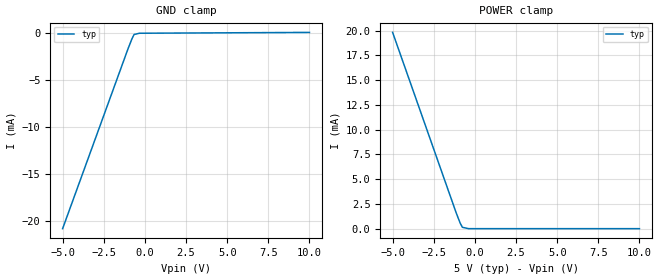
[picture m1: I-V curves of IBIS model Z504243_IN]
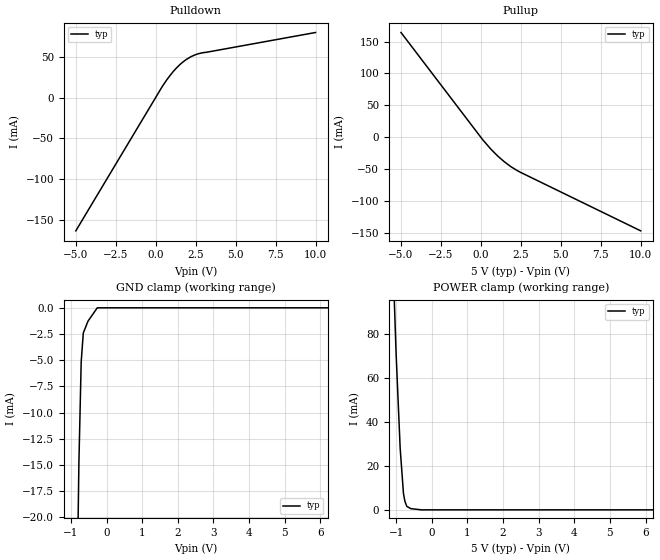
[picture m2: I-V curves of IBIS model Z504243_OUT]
| YOU ARE ONLY AUTHORIZED TO USE THIS SOFTWARE
| ACCORDING TO LICENSOR'S LICENSE RESTRICTIONS.
[IBIS Ver] 3.1
[File Name] mc74hc4078n.ibs
[File Rev] 2.0
[Source] Measured and created by ICX Technology
[Date] Friday 7/14/00 9:08:10 AM
[Copyright]
| (C) COPYRIGHT 1993-2000
| MENTOR GRAPHICS CORPORATION
| ICX STANDARD LIBRARY, ICX PROJECT MODELING,
| ICX CUSTOM MODELING, ICX VENDOR MODEL
| ALL RIGHTS RESERVED.
| THE FOLLOWING ARE TRADEMARKS OR SERVICE MARKS OF
| MENTOR GRAPHICS CORPORATION:ICX (R), ICX STANDARD
| LIBRARY(R), ICX PROJECT MODELING(R), ICX CUSTOM
| MODELING(R), qualityIBIS(TM), MODELVIEWER(TM),
| AND MODELEDITOR(TM)
| ALL COPIES OF SOFTWARE, INCLUDING BUT NOT LIMITED TO
| ANY MODIFICATIONS, ENHANCEMENTS OR DERIVATIVE WORKS,
| MUST CONTAIN ALL MENTOR GRAPHICS CORPORATION'S
| NOTICES AND LEGENDS, INCLUDING THOSE EMBEDDED IN
| SOFTWARE AND THOSE AFFIXED TO SOFTWARE MEDIUM
| AND CONTAINER, AS RECEIVED FROM MENTOR GRAPHICS
| CORPORATION.
|  ZAP Model Builder 2.7
[Component] MC74HC4078N
[Manufacturer] OnSemiconductor
[Package]
| variable   typ   min   max
R_pkg  .21ohms NA NA
L_pkg  4.543nH NA NA
C_pkg  1.059pF NA NA
[Pin] signal_name  model_name  R_pin  L_pin C_pin
1 Y Z504243_OUT .22 6.757n 1.432p
2 A Z504243_IN .212 4.757n 1.142p
3 B Z504243_IN .204 3.257n .852p
4 C Z504243_IN .196 2.257n .562p
5 D Z504243_IN .204 3.257n .852p
6 NC NC .212 4.757n 1.142p
7 GND GND .22 6.757n 1.432p
8 NC NC .22 6.757n 1.432p
9 E Z504243_IN .212 4.757n 1.142p
10 F Z504243_IN .204 3.257n .852p
11 G Z504243_IN .196 2.257n .562p
12 H Z504243_IN .204 3.257n .852p
13 _Y Z504243_OUT .212 4.757n 1.142p
14 VCC POWER .22 6.757n 1.432p
| Models and submodels in the file (2): Z504243_IN (Input), Z504243_OUT (Output)
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| (C) COPYRIGHT 1993-2000
| MENTOR GRAPHICS CORPORATION
| ICX STANDARD LIBRARY, ICX PROJECT MODELING,
| ICX CUSTOM MODELING, ICX VENDOR MODEL
| ALL RIGHTS RESERVED.
| THE FOLLOWING ARE TRADEMARKS OR SERVICE MARKS OF
| MENTOR GRAPHICS CORPORATION:ICX (R), ICX STANDARD
| LIBRARY(R), ICX PROJECT MODELING(R), ICX CUSTOM
| MODELING(R), qualityIBIS(TM), MODELVIEWER(TM),
| AND MODELEDITOR(TM)
| ALL COPIES OF SOFTWARE, INCLUDING BUT NOT LIMITED TO
| ANY MODIFICATIONS, ENHANCEMENTS OR DERIVATIVE WORKS,
| MUST CONTAIN ALL MENTOR GRAPHICS CORPORATION'S
| NOTICES AND LEGENDS, INCLUDING THOSE EMBEDDED IN
| SOFTWARE AND THOSE AFFIXED TO SOFTWARE MEDIUM
| AND CONTAINER, AS RECEIVED FROM MENTOR GRAPHICS
| CORPORATION.
| Model Application Version 1.89 2/18/99.
[Model] Z504243_IN
Model_type Input
Vinl = 1.000V
Vinh = 3.500V
C_comp 4.000pF NA NA
| variable typ   min   max
[Voltage Range] 5.000V NA NA
[GND Clamp Reference] 0.000V NA NA
[POWER Clamp Reference] 5.000V NA NA
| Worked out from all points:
|   GND clamp passes 1 mA (typ) near -0.87 V on its own axis
|   POWER clamp passes 1 mA (typ) near -1.00 V on its own axis
[GND Clamp]
-5V       -20.81mA   NA         NA
-1.025V   -1.673mA   NA         NA
-775.9mV  -567.6uA   NA         NA
-656.5mV  -152.1uA   NA         NA
-328.2mV  -22.78uA   NA         NA
10V       67.35uA    NA         NA
[POWER Clamp]
-5V       19.82mA    NA         NA
-1.132V   1.571mA    NA         NA
-900mV    580.1uA    NA         NA
-763mV    141uA      NA         NA
-381.5mV  0A         NA         NA
10V       0A         NA         NA
| (C) COPYRIGHT 1993-2000
| MENTOR GRAPHICS CORPORATION
| ICX STANDARD LIBRARY, ICX PROJECT MODELING,
| ICX CUSTOM MODELING, ICX VENDOR MODEL
| ALL RIGHTS RESERVED.
| THE FOLLOWING ARE TRADEMARKS OR SERVICE MARKS OF
| MENTOR GRAPHICS CORPORATION:ICX (R), ICX STANDARD
| LIBRARY(R), ICX PROJECT MODELING(R), ICX CUSTOM
| MODELING(R), qualityIBIS(TM), MODELVIEWER(TM),
| AND MODELEDITOR(TM)
| ALL COPIES OF SOFTWARE, INCLUDING BUT NOT LIMITED TO
| ANY MODIFICATIONS, ENHANCEMENTS OR DERIVATIVE WORKS,
| MUST CONTAIN ALL MENTOR GRAPHICS CORPORATION'S
| NOTICES AND LEGENDS, INCLUDING THOSE EMBEDDED IN
| SOFTWARE AND THOSE AFFIXED TO SOFTWARE MEDIUM
| AND CONTAINER, AS RECEIVED FROM MENTOR GRAPHICS
| CORPORATION.
| Model Application Version 1.89 2/18/99.
[Model] Z504243_OUT
Model_type Output
Vref=0.000V
Rref=500.0Mohms
Cref=50.00pF
Vmeas=2.500V
C_comp 8.000pF NA NA
| variable typ   min   max
[Voltage Range] 5.000V NA NA
[POWER Clamp Reference] 5.000V NA NA
[Pullup Reference] 5.000V NA NA
[Pulldown Reference] 0.000V NA NA
[GND Clamp Reference] 0.000V NA NA
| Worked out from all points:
|   slope of the pulldown table from 0 to 0.75 V, typ, clamps not added: 32.6 ohm
|   slope of the pullup table from 0 to 0.75 V, typ, clamps not added: 34.6 ohm
|   POWER clamp passes 1 mA (typ) near -0.64 V on its own axis
[GND Clamp]
-5V       -885.7mA   NA         NA
-1.023V   -75.39mA   NA         NA
-777.1mV  -14.83mA   NA         NA
-712.5mV  -5.156mA   NA         NA
-653.5mV  -2.398mA   NA         NA
-521.9mV  -1.276mA   NA         NA
-260.9mV  0A         NA         NA
10V       0A         NA         NA
[Pulldown]
-5V       -162.8mA   NA         NA
410.7mV   13.5mA     NA         NA
1.112V    32.12mA    NA         NA
1.742V    43.99mA    NA         NA
2.221V    50.02mA    NA         NA
2.878V    54.47mA    NA         NA
10V       79.41mA    NA         NA
[Pullup]
-5V       164.2mA    NA         NA
112mV     -3.939mA   NA         NA
635mV     -19.05mA   NA         NA
1.046V    -29.39mA   NA         NA
1.459V    -38.42mA   NA         NA
1.872V    -46.15mA   NA         NA
2.286V    -52.54mA   NA         NA
2.485V    -55.2mA    NA         NA
10V       -146.9mA   NA         NA
[POWER Clamp]
-5V       1.973A     NA         NA
-1V       70.66mA    NA         NA
-887mV    28.01mA    NA         NA
-794mV    7.364mA    NA         NA
-755mV    3.947mA    NA         NA
-701mV    1.593mA    NA         NA
-588mV    550.8uA    NA         NA
-294mV    0A         NA         NA
10V       0A         NA         NA
[Ramp]
| variable typ min max
dV/dt_r 2.822/1.917n NA NA
dV/dt_f 2.822/1.582n NA NA
R_load = 500.0Ohms
